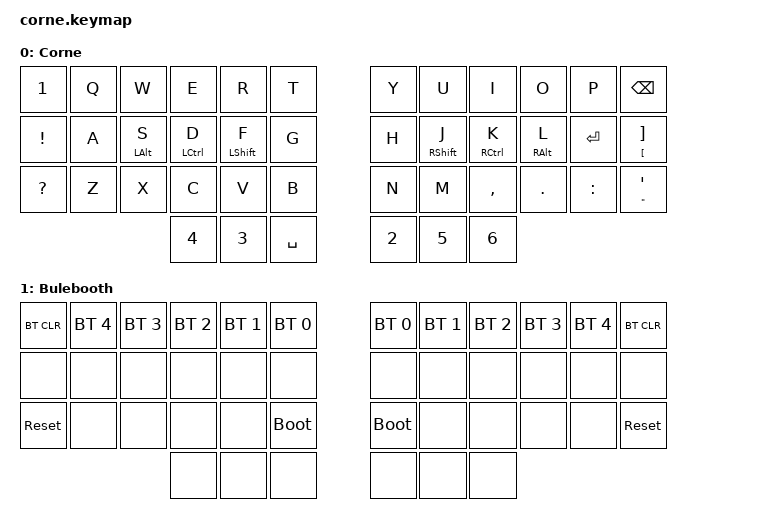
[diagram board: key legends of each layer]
/*
 * Copyright (c) 2020 The ZMK Contributors
 *
 * SPDX-License-Identifier: MIT
 */

#include <behaviors.dtsi>
#include <dt-bindings/zmk/bt.h>
#include <dt-bindings/zmk/keys.h>

&mt {
    quick-tap-ms = <180>;
    flavor = "tap-preferred";
    tapping-term-ms = <200>;
};

/ {
    combos {
        compatible = "zmk,combos";

        right_bul {
            bindings = <&tog 1>;
            key-positions = <33 34 35>;
        };

        left_bul {
            bindings = <&tog 1>;
            key-positions = <24 25 26>;
        };
    };

    behaviors {
        hm: homerow_mods {
            compatible = "zmk,behavior-hold-tap";
            label = "HOMEROW_MODS";
            bindings = <&none>, <&none>;

            #binding-cells = <2>;
            tapping-term-ms = <150>;
            quick-tap-ms = <250>;
        };
    };

    keymap {
        compatible = "zmk,keymap";

        default_layer {
            // -----------------------------------------------------------------------------------------
            // |  TAB |  Q  |  W  |  E  |  R  |  T  |   |  Y  |  U   |  I  |  O  |  P  | BKSP |
            // | CTRL |  A  |  S  |  D  |  F  |  G  |   |  H  |  J   |  K  |  L  |  ;  |  '   |
            // | SHFT |  Z  |  X  |  C  |  V  |  B  |   |  N  |  M   |  ,  |  .  |  /  | ESC  |
            //                    | GUI | LWR | SPC |   | ENT | RSE  | ALT |

            bindings = <
&kp N1           &kp Q  &kp W           &kp E        &kp R         &kp T        &kp Y   &kp U         &kp I        &kp O       &kp P      &kp BSPC
&kp EXCLAMATION  &kp A  &mt LEFT_ALT S  &mt LCTRL D  &mt LSHIFT F  &kp G        &kp H   &mt RSHIFT J  &mt RCTRL K  &mt RALT L  &kp ENTER  &mt LEFT_BRACKET RIGHT_BRACKET
&kp QUESTION     &kp Z  &kp X           &kp C        &kp V         &kp B        &kp N   &kp M         &kp COMMA    &kp DOT     &kp COLON  &mt DOUBLE_QUOTES SQT
                                        &kp N4       &kp N3        &kp SPACE    &kp N2  &kp N5        &kp N6
            >;

            label = "Corne";
        };

        both_layer {
            bindings = <
&bt BT_CLR  &bt BT_SEL 4  &bt BT_SEL 3  &bt BT_SEL 2  &bt BT_SEL 1  &bt BT_SEL 0    &bt BT_SEL 0  &bt BT_SEL 1  &bt BT_SEL 2  &bt BT_SEL 3  &bt BT_SEL 4  &bt BT_CLR
&none       &none         &none         &none         &none         &none           &none         &none         &none         &none         &none         &none
&sys_reset  &none         &none         &none         &none         &bootloader     &bootloader   &none         &none         &none         &none         &sys_reset
                                        &none         &none         &none           &none         &none         &none
            >;

            label = "Bulebooth";
        };
    };

    conditional_layers { compatible = "zmk,conditional-layers"; };
};
